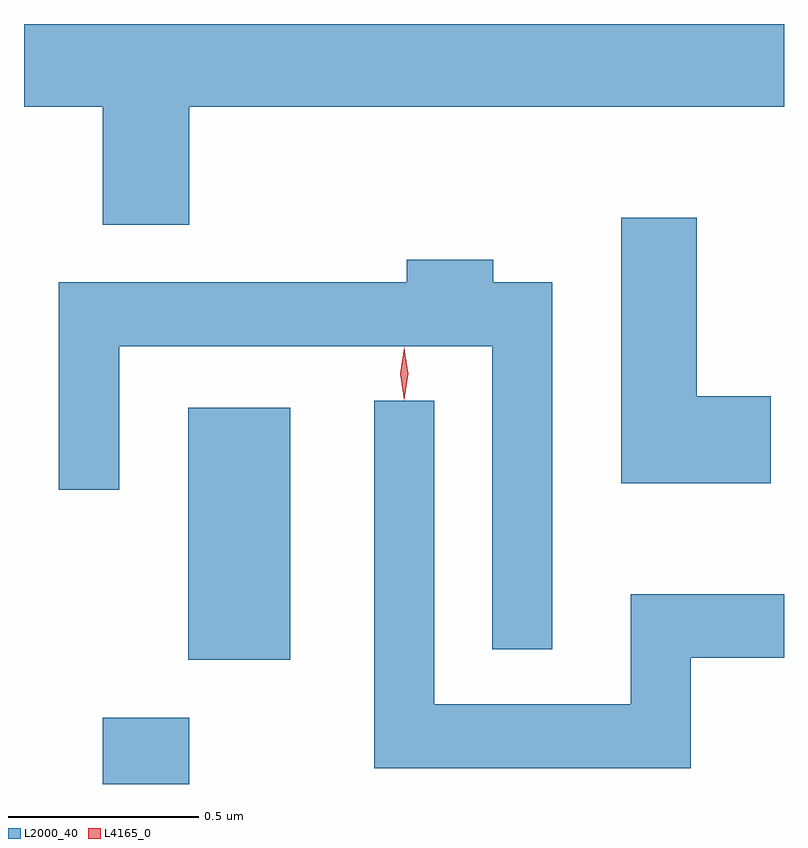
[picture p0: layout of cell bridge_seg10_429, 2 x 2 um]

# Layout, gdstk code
import gdstk
lib = gdstk.Library(unit=1e-6, precision=1e-09)
def R(c, l, rs):  # rectangles x0, y0, x1, y1
    for r in rs: c.add(gdstk.rectangle(r[:2], r[2:], *l))
def P(c, l, *ps):  # polygons
    for p in ps: c.add(gdstk.Polygon(p, *l))
L2000_40 = (2000, 40)
L4165_0 = (4165, 0)

bridge_seg10_429 = lib.new_cell('bridge_seg10_429')
R(bridge_seg10_429, L2000_40, [(1396.821,2114.354,1397.049,2114.529), (1397.046,2114.681,1397.314,2115.344)])
P(bridge_seg10_429, L2000_40, [(1397.049,2116.136),(1398.614,2116.136),(1398.614,2116.354),(1396.614,2116.354),(1396.614,2116.136),(1396.821,2116.136),(1396.821,2115.826),(1397.049,2115.826)],
  [(1398.579,2115.374),(1398.384,2115.374),(1398.384,2115.844),(1398.186,2115.844),(1398.186,2115.146),(1398.579,2115.146)],
  [(1398.004,2115.674),(1397.849,2115.674),(1397.849,2115.734),(1397.621,2115.734),(1397.621,2115.674),(1396.706,2115.674),(1396.706,2115.128),(1396.864,2115.128),(1396.864,2115.506),(1397.846,2115.506),(1397.846,2114.708),(1398.004,2114.708)],
  [(1398.369,2114.686),(1398.614,2114.686),(1398.614,2114.854),(1398.211,2114.854),(1398.211,2114.564),(1397.694,2114.564),(1397.694,2115.363),(1397.536,2115.363),(1397.536,2114.396),(1398.369,2114.396)])
P(bridge_seg10_429, L4165_0, [(1397.614,2115.367),(1397.605,2115.434),(1397.614,2115.5),(1397.615,2115.5),(1397.615,2115.5),(1397.625,2115.434),(1397.615,2115.367),(1397.615,2115.367)],
  [(1397.614,2115.364),(1397.614,2115.364),(1397.604,2115.434),(1397.614,2115.502),(1397.614,2115.503),(1397.615,2115.502),(1397.624,2115.434),(1397.615,2115.364)])

lib.write_gds('bridge_seg10_429.gds')
